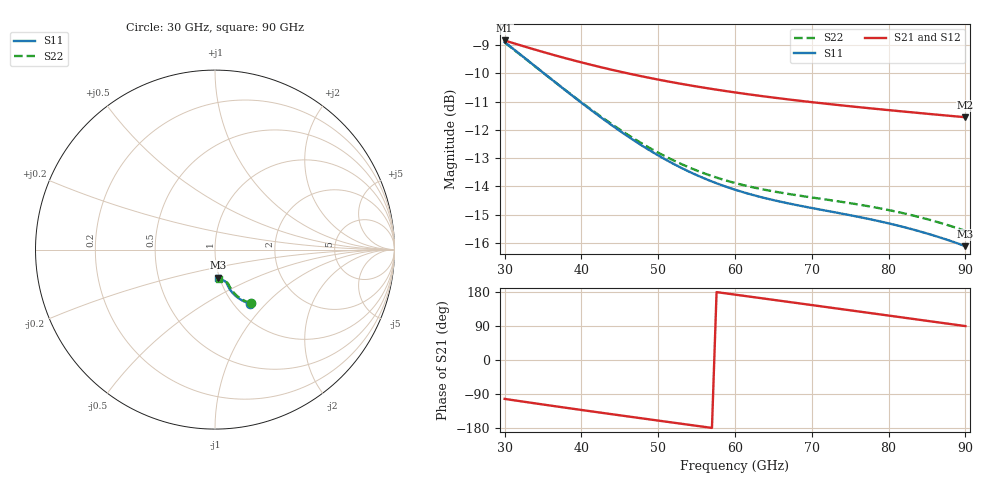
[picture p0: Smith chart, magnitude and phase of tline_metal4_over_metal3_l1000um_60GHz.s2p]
#  GHZ S DB R 50
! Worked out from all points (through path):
!   101 points, 30 GHz to 90 GHz, reference 50 ohm
!   highest |S21| = -8.84 dB at 30 GHz (marker M1); lowest = -11.6 dB at 90 GHz (marker M2)
!   group delay of S21, straight-line fit = 7.72 ps
!   lowest |S11| = -16.1 dB at 90 GHz (marker M3), VSWR 1.37, Z = 49.1 - j15.7 ohm
!   |S11| at or under -10 dB: 35.12 GHz to end of sweep
!   |S22| runs from -15.6 to -8.9 dB; largest |S21 - S12| = 5.8e-13
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30  -8.90 -57.0  -8.84 -102.6  -8.84 -102.6  -8.91 -56.3
33  -9.54 -60.4  -9.09 -111.6  -9.09 -111.6  -9.55 -59.5
35.4  -10.06 -62.7  -9.28 -118.6  -9.28 -118.6  -10.06 -61.7
37.8  -10.58 -64.6  -9.46 -125.5  -9.46 -125.5  -10.57 -63.6
40.2  -11.08 -66.3  -9.63 -132.4  -9.63 -132.4  -11.07 -65.0
42.6  -11.57 -67.6  -9.79 -139.2  -9.79 -139.2  -11.54 -66.2
45  -12.04 -68.6  -9.94 -145.9  -9.94 -145.9  -11.99 -67.1
47.4  -12.47 -69.4  -10.08 -152.7  -10.08 -152.7  -12.41 -67.7
50.4  -12.97 -70.0  -10.24 -161.0  -10.24 -161.0  -12.87 -68.2
52.8  -13.32 -70.3  -10.36 -167.6  -10.36 -167.6  -13.19 -68.4
55.2  -13.63 -70.6  -10.48 -174.2  -10.48 -174.2  -13.46 -68.6
57.6  -13.89 -70.8  -10.58 179.1  -10.58 179.1  -13.69 -68.8
60  -14.12 -71.0  -10.68 172.5  -10.68 172.5  -13.88 -69.0
64.8  -14.48 -71.8  -10.85 159.3  -10.85 159.3  -14.17 -69.8
67.2  -14.62 -72.4  -10.93 152.7  -10.93 152.7  -14.28 -70.4
70.2  -14.78 -73.3  -11.03 144.4  -11.03 144.4  -14.40 -71.5
73.2  -14.93 -74.5  -11.12 136.1  -11.12 136.1  -14.52 -72.8
75.6  -15.06 -75.6  -11.18 129.5  -11.18 129.5  -14.62 -74.0
80.4  -15.34 -78.2  -11.31 116.1  -11.31 116.1  -14.86 -76.9
85.2  -15.69 -81.2  -11.44 102.8  -11.44 102.8  -15.18 -80.0
87.6  -15.89 -82.7  -11.50 96.1  -11.50 96.1  -15.36 -81.6
90  -16.12 -84.1  -11.56 89.5  -11.56 89.5  -15.58 -83.2
